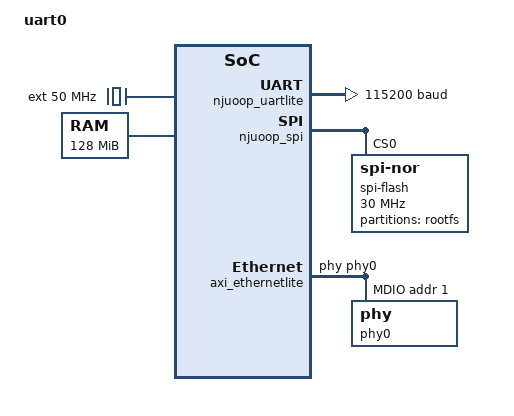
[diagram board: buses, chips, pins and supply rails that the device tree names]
/dts-v1/;

#include <dt-bindings/interrupt-controller/irq.h>

/ {
	#address-cells = <0x1>;
	#size-cells = <0x1>;
	compatible = "noop";
	model = "uart0";

	chosen {
		bootargs = "cca=0 lpj=200 console=ttyUL0,115200n8 rootfstype=ext4 root=/dev/mtdblock0 rw";
	};

	cpus {
		#address-cells = <1>;
		#size-cells = <0>;
		cpu@0 {
			device_type = "cpu";
			compatible = "mips,4Kc";
			clocks	= <&ext>;
			reg = <0>;
		};
	};

	cpuintc: interrupt-controller@0 {
		#address-cells = <0>;
		#interrupt-cells = <1>;
		interrupt-controller;
		compatible = "mti,cpu-interrupt-controller";
	};

	ext: ext {
		compatible = "fixed-clock";
		#clock-cells = <0>;
	};

	aliases {
		spi0 = &njuoop_spi;
		ethernet = &axi_ethernetlite;
	};

	memory {
		device_type = "memory";
		/* ddr start at 256M and size 128M */
		reg = <0x00000000 0x8000000>;
	};

	njuoop_uartlite: serial@bfe50000 {
		device_type = "serial";
		compatible = "xlnx,opb-uartlite-1.00.b";
		reg = <0x1fe50000 0x1000>;
		reg-shift = <2>;
		current-speed = <115200>;
		interrupt-parent = <&cpuintc>;
		interrupts = <4>;
	};

	njuoop_spi: spi@bfe80000 {
		#address-cells = <1>;
		#size-cells = <0>;
		compatible = "xlnx,xps-spi-2.00.a";
		reg = <0x1fe80000 0x10000>;
		// fifo-size = <256>;
		interrupt-parent = <&cpuintc>;
		interrupts = <5>;
		xlnx,fifo-exist = <0x1>;
		xlnx,num-ss-bits = <0x1>;
		xlnx,num-transfer-bits = <0x8>;

		spi-flash@0 {
			compatible = "jedec,spi-nor";
			reg = <0>; // Chip select 0
			spi-max-frequency = <30000000>;
			#address-cells = <1>;
			#size-cells = <1>;

			partition@0 {
				label = "rootfs";
				reg = <0x0 0x800000>;
			};
		};
	};

	axi_ethernetlite: ethernet@bff00000 {
		compatible = "xlnx,xps-ethernetlite-1.00.a";
		device_type = "network";
		local-mac-address = [08 86 4C 0D F7 09];
		phy-handle = <&phy0>;
		reg = <0x1ff00000 0x10000>;
		xlnx,duplex = <0x1>;
		xlnx,include-global-buffers = <0x1>;
		xlnx,include-internal-loopback = <0x0>;
		xlnx,include-mdio = <0x1>;
		xlnx,instance = "axi_ethernetlite_inst";
		xlnx,rx-ping-pong = <0x1>;
		xlnx,s-axi-id-width = <0x1>;
		xlnx,tx-ping-pong = <0x1>;
		xlnx,use-internal = <0x0>;
		interrupt-parent = <&cpuintc>;
		interrupts = <6 0>;
		mdio {
			#address-cells = <1>;
			#size-cells = <0>;
			phy0: phy@1 {
				device_type = "ethernet-phy";
				reg = <1>;
			};
		};
	};
};

&ext {
	clock-frequency = <50000000>;
};
